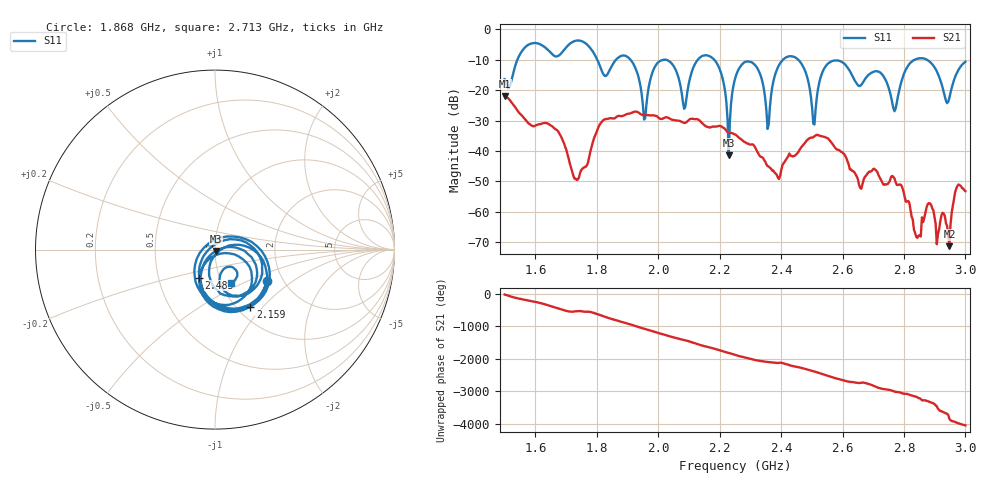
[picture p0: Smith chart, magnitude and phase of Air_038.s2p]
# HZ S RI R 50
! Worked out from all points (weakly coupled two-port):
!   404 points, 1.5 GHz to 3 GHz, reference 50 ohm
!   highest |S21| = -21.92 dB at 1.5 GHz (marker M1); lowest = -71.4 dB at 2.948 GHz (marker M2)
!   lowest |S11| = -41.4 dB at 2.23 GHz (marker M3), VSWR 1.02, Z = 50.3 - j0.786 ohm
!   |S11| at or under -10 dB: 2.182 GHz to 2.406 GHz (223.6 MHz wide, 9.75 % of centre); 2.456 GHz to 2.835 GHz (378.5 MHz wide, 14.3 % of centre); 2.875 GHz to end of sweep (the widest 3 of 7)
!   S12 and S22 are empty: the file has one direction only
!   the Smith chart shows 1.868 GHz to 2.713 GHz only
!   S11 on the Smith chart (normalised r, x): 1.868 GHz: 1.66, -0.65; 2.159 GHz: 1.15, -0.85; 2.483 GHz: 0.80, -0.26; 2.713 GHz: 1.11, -0.43
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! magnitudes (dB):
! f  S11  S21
! 1.5 GHz  -16.4  -21.9
! 1.578 GHz  -5.0  -31.0
! 1.753 GHz  -3.9  -45.9
! 1.868 GHz  -9.4  -28.5
! 1.954 GHz  -29.7  -28.2
! 2.002 GHz  -10.6  -29.2
! 2.084 GHz  -26.1  -30.8
! 2.159 GHz  -8.5  -32.1
! 2.203 GHz  -14.0  -31.8
! 2.23 GHz  -41.4  -34.0
! 2.252 GHz  -15.7  -34.7
! 2.315 GHz  -11.7  -38.7
! 2.356 GHz  -32.8  -45.0
! 2.408 GHz  -9.8  -44.1
! 2.483 GHz  -14.9  -36.7
! 2.501 GHz  -26.1  -35.6
! 2.561 GHz  -10.7  -36.8
! 2.713 GHz  -13.8  -46.9
! 2.751 GHz  -19.4  -50.5
! 2.859 GHz  -9.5  -61.9
! 2.948 GHz  -22.5  -71.4
! 3 GHz  -10.6  -53.2
